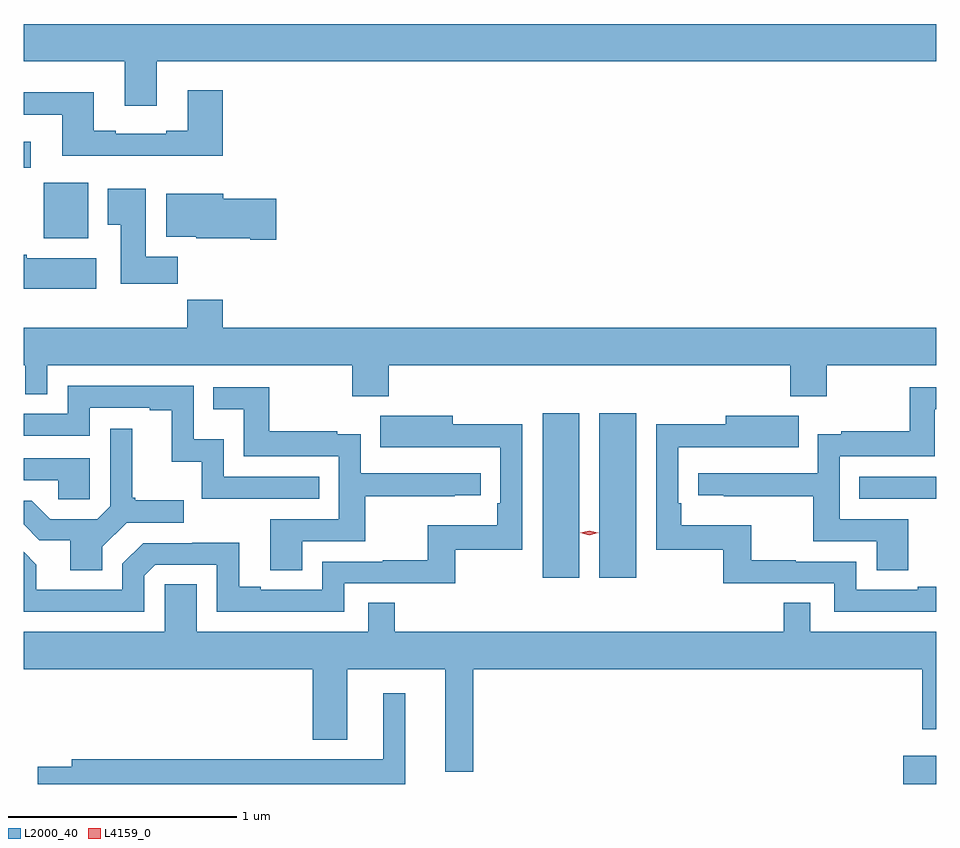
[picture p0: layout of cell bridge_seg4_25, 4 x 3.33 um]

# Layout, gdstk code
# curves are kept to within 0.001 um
import gdstk
lib = gdstk.Library(unit=1e-6, precision=1e-09)
def R(c, l, rs):  # rectangles x0, y0, x1, y1
    for r in rs: c.add(gdstk.rectangle(r[:2], r[2:], *l))
def P(c, l, *ps):  # polygons
    for p in ps: c.add(gdstk.Polygon(p, *l))
L2000_40 = (2000, 40)
L4159_0 = (4159, 0)

bridge_seg4_25 = lib.new_cell('bridge_seg4_25')
R(bridge_seg4_25, L2000_40, [(943.244,751.029,943.389,751.153), (941.663,751.932,941.824,752.653), (941.912,751.932,942.073,752.653), (943.051,752.28,943.389,752.376), (939.476,753.422,939.673,753.664), (939.389,753.731,939.421,753.844)])
P(bridge_seg4_25, L2000_40, [(939.973,754.196),(943.389,754.196),(943.389,754.36),(939.389,754.36),(939.389,754.196),(939.833,754.196),(939.833,754.002),(939.973,754.002)],
  [(940.262,754.069),(940.109,754.069),(940.109,753.892),(940.013,753.892),(940.013,753.879),(939.793,753.879),(939.793,753.892),(939.697,753.892),(939.697,754.06),(939.389,754.06),(939.389,753.963),(939.557,753.963),(939.557,753.782),(940.262,753.782)],
  [(940.064,753.34),(939.925,753.34),(939.925,753.637),(939.758,753.637),(939.758,753.481),(939.815,753.481),(939.815,753.222),(940.064,753.222)],
  [(940.495,753.593),(940.264,753.593),(940.264,753.616),(940.013,753.616),(940.013,753.428),(940.146,753.428),(940.146,753.422),(940.382,753.422),(940.382,753.415),(940.495,753.415)],
  [(939.706,753.334),(939.402,753.334),(939.402,753.348),(939.389,753.348),(939.389,753.2),(939.706,753.2)],
  [(940.988,752.864),(942.749,752.864),(942.749,752.729),(942.909,752.729),(942.909,752.864),(943.389,752.864),(943.389,753.028),(940.262,753.028),(940.262,753.152),(940.105,753.152),(940.105,753.028),(939.389,753.028),(939.389,752.864),(939.396,752.864),(939.396,752.737),(939.492,752.737),(939.492,752.864),(940.828,752.864),(940.828,752.729),(940.988,752.729)],
  [(940.685,752.376),(940.266,752.376),(940.266,752.539),(940.134,752.539),(940.134,752.775),(939.582,752.775),(939.582,752.652),(939.389,752.652),(939.389,752.556),(939.678,752.556),(939.678,752.679),(939.941,752.679),(939.941,752.667),(940.037,752.667),(940.037,752.441),(940.17,752.441),(940.17,752.28),(940.685,752.28)],
  [(943.267,752.19),(942.966,752.19),(942.966,752.466),(943.383,752.466),(943.383,752.672),(943.389,752.672),(943.389,752.769),(943.272,752.769),(943.272,752.575),(942.973,752.575),(942.973,752.563),(942.87,752.563),(942.87,752.391),(942.345,752.391),(942.345,752.295),(942.457,752.295),(942.457,752.29),(942.85,752.29),(942.85,752.094),(943.127,752.094),(943.127,751.966),(943.267,751.966)],
  [(940.609,752.094),(940.886,752.094),(940.886,752.29),(941.279,752.29),(941.279,752.295),(941.392,752.295),(941.392,752.391),(940.866,752.391),(940.866,752.563),(940.763,752.563),(940.763,752.575),(940.465,752.575),(940.465,752.769),(940.219,752.769),(940.219,752.672),(940.354,752.672),(940.354,752.466),(940.77,752.466),(940.77,752.19),(940.469,752.19),(940.469,751.966),(940.609,751.966)],
  [(939.918,751.941),(939.966,751.989),(940.236,751.989),(940.236,751.785),(940.794,751.785),(940.794,751.908),(941.281,751.908),(941.281,752.055),(941.574,752.055),(941.574,752.606),(941.269,752.606),(941.269,752.644),(940.951,752.644),(940.951,752.504),(941.478,752.505),(941.478,752.26),(941.465,752.26),(941.465,752.164),(941.16,752.164),(941.16,752.009),(940.963,752.009),(940.963,752.004),(940.698,752.004),(940.698,751.881),(940.429,751.881),(940.429,751.894),(940.333,751.894),(940.333,752.087),(940.128,752.087),(940.128,752.085),(939.912,752.085),(939.822,751.995),(939.822,751.881),(939.445,751.881),(939.445,751.991),(939.389,752.047),(939.389,751.785),(939.918,751.785)],
  [(943.389,751.894),(943.307,751.894),(943.307,751.881),(943.038,751.881),(943.038,752.004),(942.773,752.004),(942.773,752.009),(942.577,752.009),(942.577,752.164),(942.272,752.164),(942.272,752.26),(942.258,752.26),(942.258,752.505),(942.571,752.505),(942.571,752.504),(942.785,752.504),(942.785,752.644),(942.467,752.644),(942.467,752.606),(942.162,752.606),(942.162,752.055),(942.456,752.055),(942.456,751.908),(942.942,751.908),(942.942,751.785),(943.389,751.785)],
  [(939.733,752.068),(939.84,752.175),(940.09,752.175),(940.09,752.272),(939.877,752.272),(939.877,752.284),(939.865,752.284),(939.865,752.587),(939.768,752.587),(939.768,752.247),(939.711,752.19),(939.505,752.19),(939.424,752.271),(939.389,752.271),(939.389,752.167),(939.458,752.098),(939.593,752.098),(939.593,751.966),(939.733,751.966)],
  [(939.678,752.457),(939.389,752.457),(939.389,752.361),(939.541,752.361),(939.541,752.277),(939.678,752.277)],
  [(941.359,751.532),(943.327,751.532),(943.327,751.269),(943.389,751.269),(943.389,751.696),(942.837,751.696),(942.837,751.823),(942.721,751.823),(942.721,751.696),(941.015,751.696),(941.015,751.823),(940.899,751.823),(940.899,751.696),(940.147,751.696),(940.147,751.904),(940.008,751.904),(940.008,751.696),(939.389,751.696),(939.389,751.532),(940.655,751.532),(940.655,751.223),(940.807,751.223),(940.807,751.532),(941.237,751.532),(941.237,751.083),(941.359,751.083)],
  [(941.062,751.426),(940.964,751.426),(940.964,751.138),(939.599,751.138),(939.599,751.104),(939.45,751.104),(939.45,751.029),(941.062,751.029)])
P(bridge_seg4_25, L4159_0, [(941.868,752.12),(941.828,752.13),(941.828,752.13),(941.828,752.13),(941.868,752.14),(941.908,752.13),(941.908,752.13),(941.908,752.13)])

lib.write_gds('bridge_seg4_25.gds')
